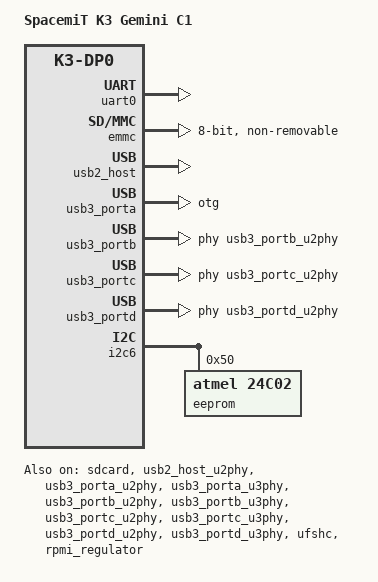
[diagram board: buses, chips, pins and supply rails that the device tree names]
// SPDX-License-Identifier: (GPL-2.0 OR MIT)
/* Copyright (c) 2025 Spacemit, Inc */

#include "k3.dtsi"
#include "k3-rdomain.dtsi"
#include "k3-pinctrl.dtsi"
#include "k3_opp_table.dtsi"
#include "lcd_dsi_panel.dtsi"
#include "lcd/lcd_icnl9911c_mipi.dtsi"
#include "k3-dp0.dtsi"
#include "k3-dp1.dtsi"
#include "k3-camera.dtsi"

/ {
	model = "SpacemiT K3 Gemini C1";
	compatible = "spacemit,k3-gemini-c1";
	cpus: cpus {
		#address-cells = <1>;
		#size-cells = <0>;
		timebase-frequency = <24000000>;
	};

/*
	p12v: p12v {
		compatible = "regulator-fixed";
		regulator-name = "p12v";
		regulator-always-on;
		regulator-boot-on;
		regulator-min-microvolt = <12000000>;
		regulator-max-microvolt = <12000000>;
		status = "disabled";
	};

	p5v: p5v {
		compatible = "regulator-fixed";
		regulator-name = "p5v";
		regulator-always-on;
		regulator-boot-on;
		regulator-min-microvolt = <5000000>;
		regulator-max-microvolt = <5000000>;
		vin-supply = <&p12v>;
		status = "disabled";
	};

	p4v: p4v {
		compatible = "regulator-fixed";
		regulator-name = "p4v";
		regulator-always-on;
		regulator-boot-on;
		regulator-min-microvolt = <4000000>;
		regulator-max-microvolt = <4000000>;
		vin-supply = <&p12v>;
		status = "disabled";
	};

	p1v8: p1v8 {
		compatible = "regulator-fixed";
		regulator-name = "p1v8";
		regulator-always-on;
		regulator-boot-on;
		regulator-min-microvolt = <1800000>;
		regulator-max-microvolt = <1800000>;
		vin-supply = <&p12v>;
		status = "disabled";
	};

	p3v3: p3v3 {
		compatible = "regulator-fixed";
		regulator-name = "p3v3";
		regulator-always-on;
		regulator-boot-on;
		regulator-min-microvolt = <3300000>;
		regulator-max-microvolt = <3300000>;
		vin-supply = <&p12v>;
		status = "disabled";
	};
*/
	chosen {
		bootargs = "earlycon=sbi console=ttyS0,115200 loglevel=8 random.trust_bootloader=1 unaligned_scalar_speed=fast unaligned_vector_speed=fast";
		rng-seed = <0x25d69b2 0xff555073 0xd23238ea 0x57aa5455 0x792478ed 0xa744f28e 0x6ba4fc54 0xa2bf20fc>;
		stdout-path = "serial0:115200";
	};
};

&resmem {
	/* global autoconfigured region for contiguous allocations */
	cmamem: linux,cma {
		compatible = "shared-dma-pool";
		reusable;
		size = <0 0x20000000>;
		alloc-ranges = <1 0x40000000 0 0x20000000>;
		linux,cma-default;
	};
};

&pinctrl {
	i2c6-0-cfg {
		i2c6-0-pins {
			power-source = <1800>;
		};
	};

	usb20_host_drv-3-cfg {
		usb20_host_drv-pins {
			power-source  = <1800>;
		};
	};

	usb30_drd-id-vbus-cfg {
		usb30_drd-pins {
			pinmux = <K3_PADCONF(116, 2)>,	/* usb30 drd id */
				 <K3_PADCONF(117, 2)>;	/* usb30 drd vbuson */

			bias-pull-down;			/* normal pull-down */
			drive-strength = <47>;		/* DS8 */
		};
	};

	mmc1_cd_cfg: mmc1-cd-cfg {
		mmc1-cd-pins {
			pinmux = <K3_PADCONF(86, 0)>;	/* cd gpio */

			bias-pull-up = <1>;
			drive-strength = <8>;
			power-source = <3300>;
		};
	};
};

&uart0 {
	pinctrl-names = "default";
	pinctrl-0 = <&uart0_0_cfg>;
	status = "okay";
};

&qspi {
	status = "disabled";
};

&sdcard {
	pinctrl-names = "default","uhs";
	pinctrl-0 = <&mmc1_cfg &mmc1_cd_cfg>;
	pinctrl-1 = <&mmc1_uhs_cfg &mmc1_cd_cfg>;
	bus-width = <4>;
	wp-inverted;
	cd-gpios = <&gpio 2 22 GPIO_ACTIVE_LOW>;
	vmmc-supply = <&p3v3>;
	vqmmc-supply = <&aldo1>;
	no-mmc;
	no-sdio;
	clock-frequency = <204800000>;
	spacemit,tx_delaycode = <0x1f>;
	status = "okay";
};

&emmc {
	bus-width = <8>;
	non-removable;
	mmc-hs400-1_8v;
	mmc-hs400-enhanced-strobe;
	no-sd;
	no-sdio;
	clock-frequency = <375000000>;
	status = "okay";
};

&usb2_host_u2phy {
	status = "okay";
};

&usb2_host {
	pinctrl-names = "default";
	pinctrl-0 = <&usb20_host_drv_3_cfg>; /* GPIO103 */
	status = "okay";
};

&usb3_porta_u2phy {
	status = "okay";
};

&usb3_porta_u3phy {
	// pinctrl-names = "default";
	// pinctrl-0 = <&usb30_drd_int_1_cfg>, /* GPIO119 J12511 */
	// 	    <&usb30_drd_dir_0_cfg>, /* GPIO86 J12512 */
	// 	    <&usb30_drd_id_vbus_cfg>; /* GPIO116 J12602, GPIO117 J12515 */
	status = "okay";
};

&usb3_porta {
	dr_mode = "otg";
	/* Bringup stage, only enable USB2 phy */
	maximum-speed = "high-speed";
	usb-role-switch;
	role-switch-default-mode = "peripheral";
	status = "okay";
};

&usb3_portb_u2phy {
	status = "okay";
};

&usb3_portb_u3phy {
	status = "okay";
};

&usb3_portb {
	/* Bringup stage, only enable USB2 phy */
	/delete-property/ phys;
	/delete-property/ phy-names;
	maximum-speed = "high-speed";
	phys = <&usb3_portb_u2phy>;
	phy-names = "usb2-phy";
	status = "okay";
};

&usb3_portc_u2phy {
	status = "okay";
};

&usb3_portc_u3phy {
	status = "okay";
};

&usb3_portc {
	/* Bringup stage, only enable USB2 phy */
	/delete-property/ phys;
	/delete-property/ phy-names;
	maximum-speed = "high-speed";
	phys = <&usb3_portc_u2phy>;
	phy-names = "usb2-phy";
	status = "okay";
};

&usb3_portd_u2phy {
	status = "okay";
};

&usb3_portd_u3phy {
	status = "okay";
};

&usb3_portd {
	/* Bringup stage, only enable USB2 phy */
	/delete-property/ phys;
	/delete-property/ phy-names;
	maximum-speed = "high-speed";
	phys = <&usb3_portd_u2phy>;
	phy-names = "usb2-phy";
	status = "okay";
};

&ufshc {
	status = "okay";
};

&thermal_zones {
	thermal_top {
		polling-delay = <1000>;
		polling-delay-passive = <250>;
		thermal-sensors = <&thermal 0>;

		trips {
			thermal_top_trip0: thermal_top-trip0 {
				temperature = <40000>;
				hysteresis = <5000>;
				type = "passive";
			};
		};
	};

	thermal_vpu {
		polling-delay = <1000>;
		polling-delay-passive = <250>;
		thermal-sensors = <&thermal 2>;

		trips {
			thermal_vpu_trip0: thermal_vpu-trip0 {
				temperature = <40000>;
				hysteresis = <5000>;
				type = "passive";
			};
		};
	};

	thermal_gpu {
		polling-delay = <1000>;
		polling-delay-passive = <250>;
		thermal-sensors = <&thermal 3>;

		trips {
			thermal_gpu_trip0: thermal_gpu-trip0 {
				temperature = <40000>;
				hysteresis = <5000>;
				type = "passive";
			};
		};
	};

	thermal_cluster0 {
		polling-delay = <1000>;
		polling-delay-passive = <250>;
		thermal-sensors = <&thermal 4>;

		trips {
			thermal_cluster0_trip0: thermal_cluster0-trip0 {
				temperature = <35000>;
				hysteresis = <5000>;
				type = "active";
			};
		};
	};

	thermal_cluster1 {
		polling-delay = <1000>;
		polling-delay-passive = <250>;
		thermal-sensors = <&thermal 5>;

		trips {
			thermal_cluster1_trip0: thermal_cluster1-trip0 {
				temperature = <85000>;
				hysteresis = <2000>;
				type = "active";
			};

			thermal_cluster1_trip1: thermal_cluster1-trip1 {
				temperature = <95000>;
				hysteresis = <2000>;
				type = "passive";
			};

			thermal_cluster1_trip2: thermal_cluster1-trip2 {
				temperature = <105000>;
				hysteresis = <2000>;
				type = "passive";
			};

			thermal_cluster1_trip3: thermal_cluster1-trip3 {
				temperature = <115000>;
				hysteresis = <2000>;
				type = "critical";
			};
		};

		cooling-maps {
			map0 {
				trip = <&thermal_cluster1_trip0>;
				cooling-device = <&cpu_0 2 2>,
						<&cpu_1 2 2>,
						<&cpu_2 2 2>,
						<&cpu_3 2 2>,
						<&cpu_4 2 2>,
						<&cpu_5 2 2>,
						<&cpu_6 2 2>,
						<&cpu_7 2 2>;
			};

			map1 {
				trip = <&thermal_cluster1_trip1>;
				cooling-device = <&cpu_0 3 5>,
						<&cpu_1 3 5>,
						<&cpu_2 3 5>,
						<&cpu_3 3 5>,
						<&cpu_4 3 5>,
						<&cpu_5 3 5>,
						<&cpu_6 3 5>,
						<&cpu_7 3 5>;
			};

			map2 {
				trip = <&thermal_cluster1_trip2>;
				cooling-device = <&cpu_0 6 8>,
						<&cpu_1 6 8>,
						<&cpu_2 6 8>,
						<&cpu_3 6 8>,
						<&cpu_4 6 8>,
						<&cpu_5 6 8>,
						<&cpu_6 6 8>,
						<&cpu_7 6 8>;
			};
		};
	};

	thermal_cluster2 {
		polling-delay = <1000>;
		polling-delay-passive = <250>;
		thermal-sensors = <&thermal 6>;

		trips {
			thermal_cluster2_trip0: thermal_cluster2-trip0 {
				temperature = <85000>;
				hysteresis = <2000>;
				type = "active";
			};

			thermal_cluster2_trip1: thermal_cluster2-trip1 {
				temperature = <95000>;
				hysteresis = <2000>;
				type = "passive";
			};

			thermal_cluster2_trip2: thermal_cluster2-trip2 {
				temperature = <105000>;
				hysteresis = <2000>;
				type = "passive";
			};

			thermal_cluster2_trip3: thermal_cluster2-trip3 {
				temperature = <115000>;
				hysteresis = <2000>;
				type = "critical";
			};
		};

		cooling-maps {
			map0 {
				trip = <&thermal_cluster2_trip0>;
				cooling-device = <&cpu_8 3 3>,
						<&cpu_9 3 3>,
						<&cpu_10 3 3>,
						<&cpu_11 3 3>,
						<&cpu_12 3 3>,
						<&cpu_13 3 3>,
						<&cpu_14 3 3>,
						<&cpu_15 3 3>;
			};

			map1 {
				trip = <&thermal_cluster2_trip1>;
				cooling-device = <&cpu_8 4 5>,
						<&cpu_9 4 5>,
						<&cpu_10 4 5>,
						<&cpu_11 4 5>,
						<&cpu_12 4 5>,
						<&cpu_13 4 5>,
						<&cpu_14 4 5>,
						<&cpu_15 4 5>;
			};

			map2 {
				trip = <&thermal_cluster2_trip2>;
				cooling-device = <&cpu_8 6 8>,
						<&cpu_9 6 8>,
						<&cpu_10 6 8>,
						<&cpu_11 6 8>,
						<&cpu_12 6 8>,
						<&cpu_13 6 8>,
						<&cpu_14 6 8>,
						<&cpu_15 6 8>;
			};
		};
	};

	thermal_cluster3 {
		polling-delay = <1000>;
		polling-delay-passive = <250>;
		thermal-sensors = <&thermal 7>;

		trips {
			thermal_cluster7_trip0: thermal_cluster7-trip0 {
				temperature = <40000>;
				hysteresis = <5000>;
				type = "passive";
			};
		};
	};
};

&rpmi_regulator {
	status = "okay";
	pinctrl-names = "default";
	pinctrl-0 = <&i2c8_cfg_rcpu>;

	pvin: pvin {
		regulator-min-microvolt = <5000000>;
		regulator-max-microvolt = <5000000>;
		regulator-always-on;
		regulator-boot-on;
	};

	edcdc2: edcdc2 {
		regulator-min-microvolt = <800000>;
		regulator-max-microvolt = <800000>;
		regulator-always-on;
		regulator-boot-on;
	};

	edcdc1: edcdc1 {
		regulator-min-microvolt = <534000>;
		regulator-max-microvolt = <10000000>;
		regulator-always-on;
		regulator-boot-on;
	};

	p3v3: p3v3 {
		regulator-min-microvolt = <3300000>;
		regulator-max-microvolt = <3300000>;
		regulator-always-on;
		regulator-boot-on;
	};

	p1v8: p1v8 {
		regulator-min-microvolt = <1800000>;
		regulator-max-microvolt = <1800000>;
		regulator-always-on;
		regulator-boot-on;
	};

	dcdc1: dcdc1 {
		regulator-min-microvolt = <1050000>;
		regulator-max-microvolt = <1050000>;
		regulator-always-on;
		regulator-boot-on;
	};

	dcdc3: dcdc3 {
		regulator-min-microvolt = <800000>;
		regulator-max-microvolt = <800000>;
		regulator-always-on;
		regulator-boot-on;
	};

	dcdc4: dcdc4 {
		regulator-min-microvolt = <2100000>;
		regulator-max-microvolt = <2100000>;
		regulator-always-on;
		regulator-boot-on;
	};

	dcdc5: dcdc5 {
		regulator-min-microvolt = <1800000>;
		regulator-max-microvolt = <1800000>;
		regulator-always-on;
		regulator-boot-on;
	};

	dcdc6: dcdc6 {
		regulator-min-microvolt = <500000>;
		regulator-max-microvolt = <600000>;
		regulator-always-on;
		regulator-boot-on;
	};

	aldo1: aldo1 {
		regulator-min-microvolt = <1800000>;
		regulator-max-microvolt = <3300000>;
		regulator-always-on;
		regulator-boot-on;
	};

	aldo2: aldo2 {
		regulator-min-microvolt = <1800000>;
		regulator-max-microvolt = <1800000>;
		regulator-always-on;
		regulator-boot-on;
	};

	aldo3: aldo3 {
		regulator-min-microvolt = <500000>;
		regulator-max-microvolt = <3400000>;
	};

	aldo4: aldo4 {
		regulator-min-microvolt = <3300000>;
		regulator-max-microvolt = <3300000>;
		regulator-always-on;
		regulator-boot-on;
	};

	dldo1: dldo1 {
		regulator-min-microvolt = <1200000>;
		regulator-max-microvolt = <1200000>;
		regulator-always-on;
		regulator-boot-on;
	};

	dldo2: dldo2 {
		regulator-min-microvolt = <900000>;
		regulator-max-microvolt = <900000>;
		regulator-always-on;
		regulator-boot-on;
	};

	dldo3: dldo3 {
		regulator-min-microvolt = <800000>;
		regulator-max-microvolt = <800000>;
		regulator-always-on;
		regulator-boot-on;
	};

	dldo4: dldo4 {
		regulator-min-microvolt = <1800000>;
		regulator-max-microvolt = <1800000>;
		regulator-always-on;
		regulator-boot-on;
	};

	dldo5: dldo5 {
		regulator-min-microvolt = <1800000>;
		regulator-max-microvolt = <1800000>;
		regulator-always-on;
		regulator-boot-on;
	};

	dldo6: dldo6 {
		regulator-min-microvolt = <1800000>;
		regulator-max-microvolt = <1800000>;
		regulator-always-on;
		regulator-boot-on;
	};

	dldo7: dldo7 {
		regulator-min-microvolt = <1800000>;
		regulator-max-microvolt = <1800000>;
		regulator-always-on;
		regulator-boot-on;
	};

	pwr_x100: pwr_x100 {
		regulator-min-microvolt = <3300000>;
		regulator-max-microvolt = <3300000>;
		regulator-always-on;
		regulator-boot-on;
	};

	pwr_a100: pwr_a100 {
		regulator-min-microvolt = <3300000>;
		regulator-max-microvolt = <3300000>;
		regulator-always-on;
		regulator-boot-on;
	};

	pwr_ext: pwr_ext {
		regulator-min-microvolt = <3300000>;
		regulator-max-microvolt = <3300000>;
		regulator-always-on;
		regulator-boot-on;
	};
};

&i2c6 {
	pinctrl-names = "default";
	pinctrl-0 = <&i2c6_0_cfg>;
	status = "okay";

	eeprom@50 {
		compatible = "atmel,24c02";
		reg = <0x50>;
		read-only;
		status = "okay";

		nvmem-layout {
			compatible = "onie,tlv-layout";

			product_name: product-name {
			};
		};
	};
};

/*
&i2c8 {
	pinctrl-names = "default";
	pinctrl-0 = <&i2c8_cfg>;
	status = "disabled";

	p1@41 {
		compatible = "spacemit,p1";
		reg = <0x41>;
		status = "disabled";

		vcc-supply = <&p4v>;

		regulators {
			compatible = "spacemit-p1-regulator";

			buck1: buck1 {
				regulator-min-microvolt = <1050000>;
				regulator-max-microvolt = <1050000>;
				regulator-ramp-delay = <5000>;
				regulator-always-on;
				regulator-boot-on;
			};

			buck2: buck2 {
				regulator-min-microvolt = <1050000>;
				regulator-max-microvolt = <1050000>;
				regulator-ramp-delay = <5000>;
				regulator-always-on;
				regulator-boot-on;
			};

			buck3: buck3 {
				regulator-min-microvolt = <800000>;
				regulator-max-microvolt = <800000>;
				regulator-ramp-delay = <5000>;
				regulator-always-on;
				regulator-boot-on;
			};

			buck4: buck4 {
				regulator-min-microvolt = <2100000>;
				regulator-max-microvolt = <2100000>;
				regulator-ramp-delay = <5000>;
				regulator-always-on;
				regulator-boot-on;
			};

			buck5: buck5 {
				regulator-min-microvolt = <1800000>;
				regulator-max-microvolt = <1800000>;
				regulator-ramp-delay = <5000>;
				regulator-always-on;
				regulator-boot-on;
			};

			buck6: buck6 {
				regulator-min-microvolt = <500000>;
				regulator-max-microvolt = <500000>;
				regulator-ramp-delay = <5000>;
				regulator-always-on;
				regulator-boot-on;
			};

			aldo1: aldo1 {
				regulator-min-microvolt = <1800000>;
				regulator-max-microvolt = <3300000>;
				regulator-always-on;
				regulator-boot-on;
			};

			aldo2: aldo2 {
				regulator-min-microvolt = <1800000>;
				regulator-max-microvolt = <1800000>;
				regulator-always-on;
				regulator-boot-on;
			};

			aldo3: aldo3 {
				regulator-min-microvolt = <500000>;
				regulator-max-microvolt = <3400000>;
			};

			aldo4: aldo4 {
				regulator-min-microvolt = <3300000>;
				regulator-max-microvolt = <3300000>;
				regulator-always-on;
				regulator-boot-on;
			};

			dldo1: dldo1 {
				regulator-min-microvolt = <1200000>;
				regulator-max-microvolt = <1200000>;
				regulator-always-on;
				regulator-boot-on;
			};

			dldo2: dldo2 {
				regulator-min-microvolt = <900000>;
				regulator-max-microvolt = <900000>;
				regulator-always-on;
				regulator-boot-on;
			};

			dldo3: dldo3 {
				regulator-min-microvolt = <800000>;
				regulator-max-microvolt = <800000>;
				regulator-always-on;
				regulator-boot-on;
			};

			dldo4: dldo4 {
				regulator-min-microvolt = <1800000>;
				regulator-max-microvolt = <1800000>;
				regulator-always-on;
				regulator-boot-on;
			};

			dldo5: dldo5 {
				regulator-min-microvolt = <1800000>;
				regulator-max-microvolt = <1800000>;
				regulator-always-on;
				regulator-boot-on;
			};

			dldo6: dldo6 {
				regulator-min-microvolt = <1800000>;
				regulator-max-microvolt = <1800000>;
				regulator-always-on;
				regulator-boot-on;
			};

			dldo7: dldo7 {
				regulator-min-microvolt = <1800000>;
				regulator-max-microvolt = <1800000>;
				regulator-always-on;
				regulator-boot-on;
			};
		};
	};
};
*/
